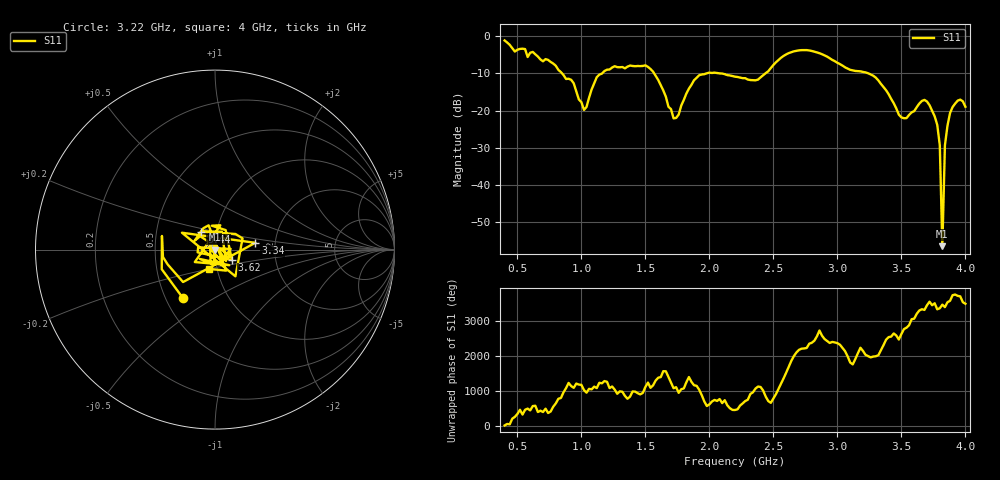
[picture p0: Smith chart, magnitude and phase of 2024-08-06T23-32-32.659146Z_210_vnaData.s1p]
!Created with skrf (http://scikit-rf.org).
# Hz S RI R 50.0
!freq ReS11 ImS11
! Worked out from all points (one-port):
!   181 points, 400 MHz to 4 GHz, reference 50 ohm
!   lowest |S11| = -56.4 dB at 3.82 GHz (marker M1), VSWR 1.00, Z = 49.9 - j0.113 ohm
!   |S11| at or under -10 dB: 1.568 GHz to 1.981 GHz (413.2 MHz wide, 23.3 % of centre); 2.072 GHz to 2.439 GHz (367.3 MHz wide, 16.3 % of centre); 3.24 GHz to end of sweep (the widest 3 of 4)
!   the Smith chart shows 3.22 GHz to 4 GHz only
!   S11 on the Smith chart (normalised r, x): 3.22 GHz: 0.61, -0.37; 3.34 GHz: 1.57, +0.13; 3.44 GHz: 0.84, +0.17; 3.62 GHz: 1.20, -0.14; 4 GHz: 0.92, -0.20
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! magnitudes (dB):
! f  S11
! 400 MHz  -1.2
! 860 MHz  -10.5
! 940 MHz  -12.7
! 1.02 GHz  -19.8
! 1.12 GHz  -11.1
! 1.3 GHz  -8.4
! 1.52 GHz  -8.3
! 1.72 GHz  -22.1
! 1.76 GHz  -21.1
! 1.92 GHz  -10.5
! 2.2 GHz  -10.9
! 2.38 GHz  -11.7
! 2.66 GHz  -4.1
! 3.1 GHz  -9.1
! 3.22 GHz  -9.8
! 3.34 GHz  -12.9
! 3.44 GHz  -18.0
! 3.5 GHz  -21.8
! 3.56 GHz  -21.2
! 3.62 GHz  -19.1
! 3.7 GHz  -17.6
! 3.78 GHz  -23.8
! 3.8 GHz  -29.3
! 3.82 GHz  -56.4
! 3.84 GHz  -29.4
! 3.86 GHz  -24.1
! 3.94 GHz  -17.3
! 4 GHz  -19.0
